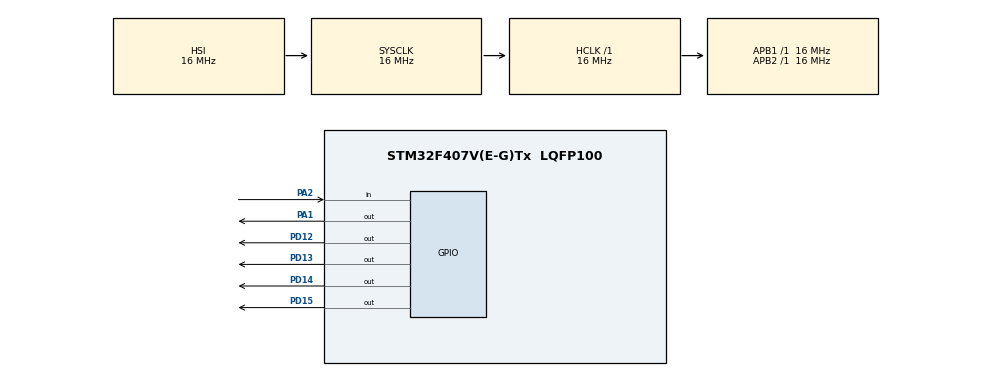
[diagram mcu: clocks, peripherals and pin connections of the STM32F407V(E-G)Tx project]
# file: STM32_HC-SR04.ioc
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Mcu.Family=STM32F4
Mcu.Name=STM32F407V(E-G)Tx
Mcu.Package=LQFP100
NVIC.PriorityGroup=NVIC_PRIORITYGROUP_4
PA1.Signal=GPIO_Output
PA13.Mode=Serial_Wire
PA13.Signal=SYS_JTMS-SWDIO
PA14.Mode=Serial_Wire
PA14.Signal=SYS_JTCK-SWCLK
PA2.Signal=GPIO_Input
PD12.Signal=GPIO_Output
PD13.Signal=GPIO_Output
PD14.Signal=GPIO_Output
PD15.Signal=GPIO_Output
PH0-OSC_IN.Mode=HSE-External-Oscillator
PH0-OSC_IN.Signal=RCC_OSC_IN
PH1-OSC_OUT.Mode=HSE-External-Oscillator
PH1-OSC_OUT.Signal=RCC_OSC_OUT
ProjectManager.HeapSize=0x200
ProjectManager.StackSize=0x400
ProjectManager.TargetToolchain=STM32CubeIDE
RCC.AHBFreq_Value=16000000
RCC.APB1Freq_Value=16000000
RCC.APB2Freq_Value=16000000
RCC.CortexFreq_Value=16000000
RCC.HSE_VALUE=25000000
RCC.HSI_VALUE=16000000
RCC.LSE_VALUE=32768
RCC.SYSCLKFreq_VALUE=16000000
RCC.VCOOutputFreq_Value=192000000
board=custom

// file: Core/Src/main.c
/* USER CODE BEGIN Header */
/**
  ******************************************************************************
  * @file           : main.c
  * @brief          : Main program body
  ******************************************************************************
  * @attention
  *
  * Copyright (c) 2023 STMicroelectronics.
  * All rights reserved.
  *
  * This software is licensed under terms that can be found in the LICENSE file
  * in the root directory of this software component.
  * If no LICENSE file comes with this software, it is provided AS-IS.
  *
  ******************************************************************************
  */
/* USER CODE END Header */
#include "main.h"

/* USER CODE BEGIN Includes */
#include "dwt_stm32_delay.h"
/* USER CODE END Includes */

/* USER CODE BEGIN PV */
uint32_t time;
uint16_t distance;
/* USER CODE END PV */

void SystemClock_Config(void);
static void MX_GPIO_Init(void);

/* USER CODE BEGIN 0 */

 uint32_t Read_HCSR04()
 {
    uint32_t local_time = 0;

    HAL_GPIO_WritePin(GPIOA, GPIO_PIN_1, GPIO_PIN_SET);
    DWT_Delay_us(10);
    HAL_GPIO_WritePin(GPIOA, GPIO_PIN_1, GPIO_PIN_RESET);

    while(!HAL_GPIO_ReadPin(GPIOA,GPIO_PIN_2));

    while(HAL_GPIO_ReadPin(GPIOA,GPIO_PIN_2))
    {
    	local_time++;
    	DWT_Delay_us(1);
    }

    return local_time;
 }

/* USER CODE END 0 */

int main(void)
{

  /* MCU Configuration--------------------------------------------------------*/

  /* Reset of all peripherals, Initializes the Flash interface and the Systick. */
  HAL_Init();

  /* Configure the system clock */
  SystemClock_Config();

  /* Initialize all configured peripherals */
  MX_GPIO_Init();
  /* USER CODE BEGIN 2 */
  DWT_Delay_Init();
  /* USER CODE END 2 */

  /* Infinite loop */
  while (1)
  {

    /* USER CODE BEGIN 3 */

	  time=Read_HCSR04();
	  distance=time/58;

	  if(distance>1 && distance<2)
	  {
		  HAL_GPIO_WritePin(GPIOD,GPIO_PIN_12,GPIO_PIN_SET);
		  HAL_GPIO_WritePin(GPIOD,GPIO_PIN_13 | GPIO_PIN_14 | GPIO_PIN_15,GPIO_PIN_RESET);
	  }

	  else if(distance>2 && distance<5)
	  	 {
	  		  HAL_GPIO_WritePin(GPIOD,GPIO_PIN_12 | GPIO_PIN_13,GPIO_PIN_SET);
	  		  HAL_GPIO_WritePin(GPIOD, GPIO_PIN_14 | GPIO_PIN_15,GPIO_PIN_RESET);
	  	 }
	  else if(distance>5 && distance<10)
	  	  	 {
	  	  		  HAL_GPIO_WritePin(GPIOD,GPIO_PIN_12 | GPIO_PIN_13 | GPIO_PIN_14,GPIO_PIN_SET);
	  	  		  HAL_GPIO_WritePin(GPIOD,  GPIO_PIN_15,GPIO_PIN_RESET);
	  	  	  }
	  else if(distance>10 )
		  HAL_GPIO_WritePin(GPIOD,GPIO_PIN_12 | GPIO_PIN_13 | GPIO_PIN_14 | GPIO_PIN_15,GPIO_PIN_SET);

	  else
		  HAL_GPIO_WritePin(GPIOD,GPIO_PIN_12 | GPIO_PIN_13 | GPIO_PIN_14 | GPIO_PIN_15,GPIO_PIN_RESET);

  }
  /* USER CODE END 3 */
}

void SystemClock_Config(void)
{
  RCC_OscInitTypeDef RCC_OscInitStruct = {0};
  RCC_ClkInitTypeDef RCC_ClkInitStruct = {0};

  /** Configure the main internal regulator output voltage
  */
  __HAL_RCC_PWR_CLK_ENABLE();
  __HAL_PWR_VOLTAGESCALING_CONFIG(PWR_REGULATOR_VOLTAGE_SCALE1);

  /** Initializes the RCC Oscillators according to the specified parameters
  * in the RCC_OscInitTypeDef structure.
  */
  RCC_OscInitStruct.OscillatorType = RCC_OSCILLATORTYPE_HSI;
  RCC_OscInitStruct.HSIState = RCC_HSI_ON;
  RCC_OscInitStruct.HSICalibrationValue = RCC_HSICALIBRATION_DEFAULT;
  RCC_OscInitStruct.PLL.PLLState = RCC_PLL_NONE;
  if (HAL_RCC_OscConfig(&RCC_OscInitStruct) != HAL_OK)
  {
    Error_Handler();
  }

  /** Initializes the CPU, AHB and APB buses clocks
  */
  RCC_ClkInitStruct.ClockType = RCC_CLOCKTYPE_HCLK|RCC_CLOCKTYPE_SYSCLK
                              |RCC_CLOCKTYPE_PCLK1|RCC_CLOCKTYPE_PCLK2;
  RCC_ClkInitStruct.SYSCLKSource = RCC_SYSCLKSOURCE_HSI;
  RCC_ClkInitStruct.AHBCLKDivider = RCC_SYSCLK_DIV1;
  RCC_ClkInitStruct.APB1CLKDivider = RCC_HCLK_DIV1;
  RCC_ClkInitStruct.APB2CLKDivider = RCC_HCLK_DIV1;

  if (HAL_RCC_ClockConfig(&RCC_ClkInitStruct, FLASH_LATENCY_0) != HAL_OK)
  {
    Error_Handler();
  }
}

static void MX_GPIO_Init(void)
{
  GPIO_InitTypeDef GPIO_InitStruct = {0};

  /* GPIO Ports Clock Enable */
  __HAL_RCC_GPIOH_CLK_ENABLE();
  __HAL_RCC_GPIOA_CLK_ENABLE();
  __HAL_RCC_GPIOD_CLK_ENABLE();

  /*Configure GPIO pin Output Level */
  HAL_GPIO_WritePin(GPIOA, GPIO_PIN_1, GPIO_PIN_RESET);

  /*Configure GPIO pin Output Level */
  HAL_GPIO_WritePin(GPIOD, GPIO_PIN_12|GPIO_PIN_13|GPIO_PIN_14|GPIO_PIN_15, GPIO_PIN_RESET);

  /*Configure GPIO pin : PA1 */
  GPIO_InitStruct.Pin = GPIO_PIN_1;
  GPIO_InitStruct.Mode = GPIO_MODE_OUTPUT_PP;
  GPIO_InitStruct.Pull = GPIO_NOPULL;
  GPIO_InitStruct.Speed = GPIO_SPEED_FREQ_LOW;
  HAL_GPIO_Init(GPIOA, &GPIO_InitStruct);

  /*Configure GPIO pin : PA2 */
  GPIO_InitStruct.Pin = GPIO_PIN_2;
  GPIO_InitStruct.Mode = GPIO_MODE_INPUT;
  GPIO_InitStruct.Pull = GPIO_NOPULL;
  HAL_GPIO_Init(GPIOA, &GPIO_InitStruct);

  /*Configure GPIO pins : PD12 PD13 PD14 PD15 */
  GPIO_InitStruct.Pin = GPIO_PIN_12|GPIO_PIN_13|GPIO_PIN_14|GPIO_PIN_15;
  GPIO_InitStruct.Mode = GPIO_MODE_OUTPUT_PP;
  GPIO_InitStruct.Pull = GPIO_NOPULL;
  GPIO_InitStruct.Speed = GPIO_SPEED_FREQ_LOW;
  HAL_GPIO_Init(GPIOD, &GPIO_InitStruct);

}

void Error_Handler(void)
{
  __disable_irq();
  while (1)
  {
  }
}
